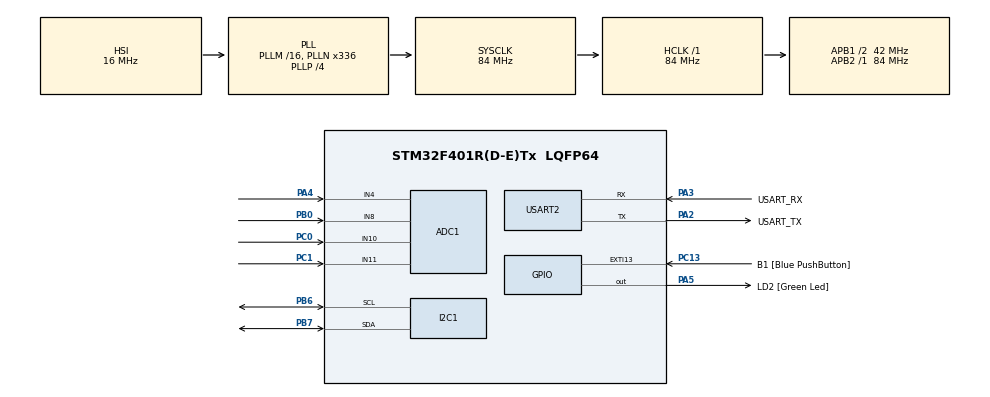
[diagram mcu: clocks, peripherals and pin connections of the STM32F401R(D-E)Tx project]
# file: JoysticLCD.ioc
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ADC1.Channel-2\#ChannelRegularConversion=ADC_CHANNEL_10
ADC1.Channel-3\#ChannelRegularConversion=ADC_CHANNEL_11
ADC1.Channel-4\#ChannelRegularConversion=ADC_CHANNEL_8
ADC1.Channel-5\#ChannelRegularConversion=ADC_CHANNEL_4
ADC1.ContinuousConvMode=ENABLE
ADC1.EOCSelection=ADC_EOC_SINGLE_CONV
ADC1.NbrOfConversion=4
ADC1.NbrOfConversionFlag=1
ADC1.Rank-2\#ChannelRegularConversion=1
ADC1.Rank-3\#ChannelRegularConversion=2
ADC1.Rank-4\#ChannelRegularConversion=3
ADC1.Rank-5\#ChannelRegularConversion=4
ADC1.SamplingTime-2\#ChannelRegularConversion=ADC_SAMPLETIME_480CYCLES
ADC1.SamplingTime-3\#ChannelRegularConversion=ADC_SAMPLETIME_480CYCLES
ADC1.SamplingTime-4\#ChannelRegularConversion=ADC_SAMPLETIME_480CYCLES
ADC1.SamplingTime-5\#ChannelRegularConversion=ADC_SAMPLETIME_480CYCLES
ADC1.ScanConvMode=ENABLE
ADC1.master=1
Mcu.Family=STM32F4
Mcu.Name=STM32F401R(D-E)Tx
Mcu.Package=LQFP64
NVIC.ADC_IRQn=true\:0\:0\:false\:false\:true\:true\:true\:true
NVIC.PriorityGroup=NVIC_PRIORITYGROUP_0
NVIC.TIM1_UP_TIM10_IRQn=true\:0\:0\:false\:false\:true\:true\:true\:true
PA13.GPIO_Label=TMS
PA13.Mode=Serial_Wire
PA13.Signal=SYS_JTMS-SWDIO
PA14.GPIO_Label=TCK
PA14.Mode=Serial_Wire
PA14.Signal=SYS_JTCK-SWCLK
PA2.GPIO_Label=USART_TX
PA2.GPIO_Mode=GPIO_MODE_AF_PP
PA2.GPIO_PuPd=GPIO_NOPULL
PA2.GPIO_Speed=GPIO_SPEED_FREQ_LOW
PA2.Mode=Asynchronous
PA2.Signal=USART2_TX
PA3.GPIO_Label=USART_RX
PA3.GPIO_Mode=GPIO_MODE_AF_PP
PA3.GPIO_PuPd=GPIO_NOPULL
PA3.GPIO_Speed=GPIO_SPEED_FREQ_LOW
PA3.Mode=Asynchronous
PA3.Signal=USART2_RX
PA4.Signal=ADCx_IN4
PA5.GPIO_Label=LD2 [Green Led]
PA5.GPIO_Mode=GPIO_MODE_OUTPUT_PP
PA5.GPIO_PuPd=GPIO_NOPULL
PA5.GPIO_Speed=GPIO_SPEED_FREQ_LOW
PA5.Signal=GPIO_Output
PB0.Signal=ADCx_IN8
PB3.GPIO_Label=SWO
PB3.Signal=SYS_JTDO-SWO
PB6.Mode=I2C
PB6.Signal=I2C1_SCL
PB7.Mode=I2C
PB7.Signal=I2C1_SDA
PC0.Signal=ADCx_IN10
PC1.Signal=ADCx_IN11
PC13-ANTI_TAMP.GPIO_Label=B1 [Blue PushButton]
PC13-ANTI_TAMP.GPIO_ModeDefaultEXTI=GPIO_MODE_IT_FALLING
PC13-ANTI_TAMP.GPIO_PuPd=GPIO_NOPULL
PC13-ANTI_TAMP.Signal=GPXTI13
PC14-OSC32_IN.Mode=LSE-External-Oscillator
PC14-OSC32_IN.Signal=RCC_OSC32_IN
PC15-OSC32_OUT.Mode=LSE-External-Oscillator
PC15-OSC32_OUT.Signal=RCC_OSC32_OUT
PH0\ -\ OSC_IN.Mode=HSE-External-Clock-Source
PH0\ -\ OSC_IN.Signal=RCC_OSC_IN
PH1\ -\ OSC_OUT.Mode=HSE-External-Clock-Source
PH1\ -\ OSC_OUT.Signal=RCC_OSC_OUT
ProjectManager.HeapSize=0x200
ProjectManager.StackSize=0x400
ProjectManager.TargetToolchain=STM32CubeIDE
RCC.48MHZClocksFreq_Value=48000000
RCC.AHBFreq_Value=84000000
RCC.APB1CLKDivider=RCC_HCLK_DIV2
RCC.APB1Freq_Value=42000000
RCC.APB1TimFreq_Value=84000000
RCC.APB2Freq_Value=84000000
RCC.APB2TimFreq_Value=84000000
RCC.CortexFreq_Value=84000000
RCC.HCLKFreq_Value=84000000
RCC.HSE_VALUE=8000000
RCC.HSI_VALUE=16000000
RCC.PLLN=336
RCC.PLLP=RCC_PLLP_DIV4
RCC.PLLQ=7
RCC.SYSCLKFreq_VALUE=84000000
RCC.SYSCLKSource=RCC_SYSCLKSOURCE_PLLCLK
RCC.VCOOutputFreq_Value=336000000
SH.ADCx_IN10.0=ADC1_IN10,IN10
SH.ADCx_IN11.0=ADC1_IN11,IN11
SH.ADCx_IN4.0=ADC1_IN4,IN4
SH.ADCx_IN8.0=ADC1_IN8,IN8
TIM1.AutoReloadPreload=TIM_AUTORELOAD_PRELOAD_ENABLE
TIM1.Period=2624
TIM1.Prescaler=15999
TIM5.Prescaler=84
USART2.VirtualMode=VM_ASYNC
VP_TIM1_VS_ClockSourceINT.Mode=Internal
VP_TIM5_VS_ClockSourceINT.Mode=Internal
board=NUCLEO-F401RE

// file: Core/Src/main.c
/* USER CODE BEGIN Header */
/**
  ******************************************************************************
  * @file           : main.c
  * @brief          : Main program body
  ******************************************************************************
  * @attention
  *
  * Copyright (c) 2022 STMicroelectronics.
  * All rights reserved.
  *
  * This software is licensed under terms that can be found in the LICENSE file
  * in the root directory of this software component.
  * If no LICENSE file comes with this software, it is provided AS-IS.
  *
  ******************************************************************************
  */
/* USER CODE END Header */
#include "main.h"

/* USER CODE BEGIN Includes */
#include "lcd.h"

#include <stdio.h>
/* USER CODE END Includes */

 ADC_HandleTypeDef hadc1;

I2C_HandleTypeDef hi2c1;

TIM_HandleTypeDef htim1;
TIM_HandleTypeDef htim5;

UART_HandleTypeDef huart2;

void SystemClock_Config(void);
static void MX_GPIO_Init(void);
static void MX_USART2_UART_Init(void);
static void MX_ADC1_Init(void);
static void MX_I2C1_Init(void);
static void MX_TIM1_Init(void);
static void MX_TIM5_Init(void);

/* USER CODE BEGIN 0 */

struct clock_data
{
	uint8_t hrs;
	uint8_t min;
	uint8_t sec;
	uint8_t half;
};

void cd_set(struct clock_data *pcd, uint8_t hrs, uint8_t min, uint8_t sec){
	pcd->hrs = hrs;
	pcd->min = min;
	pcd->sec = sec;
	pcd->half = 0;
}

void cd_tick(struct clock_data * pcd){
	pcd->half++;

	pcd->sec += pcd->half / 2;
	pcd->half %= 2;

	pcd->min += pcd->sec / 60;
	pcd->sec %= 60;

	pcd->hrs += pcd->min / 60;
	pcd->min %= 60;

	pcd->hrs %= 24;
}

int cd_string(struct clock_data * pcd, char * str){
	  char delimiter = pcd->half ? ':' : ' ';
	  return sprintf(str, "%02u%c%02u%c%02u", pcd->hrs, delimiter, pcd->min, delimiter, pcd->sec);
}

void uart_print_cd(UART_HandleTypeDef * huart, struct clock_data * pcd){
	char cl_str[10] = {'\0'};
	char str[81] = {'\0'};
	int str_len = 0;
	str_len = cd_string(pcd, cl_str);
	str_len = sprintf(str, "%s\n\r", cl_str);
	HAL_UART_Transmit(&huart2, (uint8_t*) str, str_len, HAL_MAX_DELAY);
}

void lcd_print_cd(TextLCDType *hlcd, struct clock_data * pcd){
	char str[10] = {'\0'};
	cd_string(pcd, str);
	TextLCD_Position(hlcd, 8, 1);
	TextLCD_PutStr(hlcd, str);
}

uint16_t read_one_adc_value(ADC_HandleTypeDef * hadc)
{
	HAL_ADC_Start(hadc);
	HAL_ADC_PollForConversion(hadc, 100);
	uint32_t reading = HAL_ADC_GetValue(hadc);
	HAL_ADC_Stop(hadc);
	return (uint16_t) reading;
}
float normalize_12bit(uint16_t x){ // right in image
	float ret = x;
	ret /= 4095;
	return ret;
}
float normalize_12bit_posneg(uint16_t x){ // left in image
	float ret = x;
	ret /=2047;
	ret -= 1;
	return ret;
}

float lm35_to_celsius(uint16_t lm35_reading){
	float ret = lm35_reading;
	float vref = 3.3;
	ret /= 4096.0/vref;//ret is now woltage
	ret *= 100;
	return ret;
}

float normelize_photo(uint16_t val){
	return normalize_12bit(4096 -  val);
}

enum {adc_buffer_size = 3};
enum adc_indexes{
	joy_x_ix = 0,
	joy_y_ix = 1,
	lm35_ix = 2,
	photo_ix = 3
};
uint16_t adc_buffer[adc_buffer_size];
uint32_t adc_index = 0;
uint32_t adc_done = 0;

void joystic(TextLCDType * hlcd){
	HAL_ADC_Start_IT(&hadc1);
	while(1){
		if(adc_done){
			adc_done = 0;
			TextLCD_Clear(hlcd);
			char str[40] = {'\0'};
			TextLCD_Position(hlcd, 0, 0);
			char celciusToken = 0b11011111;
			sprintf(str, "%+0.2fx   % 4.1f%cC", normalize_12bit_posneg(adc_buffer[joy_x_ix]), lm35_to_celsius(adc_buffer[lm35_ix]), celciusToken);
			TextLCD_PutStr(hlcd, str);

			sprintf(str, "%+0.2fy    %0.3f%c", normalize_12bit_posneg(adc_buffer[joy_y_ix]), normelize_photo(adc_buffer[photo_ix]), 'L');
			TextLCD_Position(hlcd, 0, 1);
			TextLCD_PutStr(hlcd, str);
		};
		HAL_Delay(500);
	}
}

void HAL_ADC_ConvCpltCallback(ADC_HandleTypeDef* hadc){
	if(hadc == &hadc1){
		//hadc->Instance->
		if(__HAL_ADC_GET_FLAG(hadc, ADC_FLAG_EOC)){
			adc_buffer[adc_index] = HAL_ADC_GetValue(hadc);
			if(adc_index == adc_buffer_size){
				adc_index = 0;
				adc_done = 1;
			}else{
				adc_index++;
			}
		}
	}
}

uint32_t unhandled_clock = 0;
void HAL_TIM_PeriodElapsedCallback(TIM_HandleTypeDef *htim){
	if(htim == &htim1){
		unhandled_clock++;
	}
}
/* USER CODE END 0 */

int main(void)
{

  /* MCU Configuration--------------------------------------------------------*/

  /* Reset of all peripherals, Initializes the Flash interface and the Systick. */
  HAL_Init();

  /* Configure the system clock */
  SystemClock_Config();

  /* Initialize all configured peripherals */
  MX_GPIO_Init();
  MX_USART2_UART_Init();
  MX_ADC1_Init();
  MX_I2C1_Init();
  MX_TIM1_Init();
  MX_TIM5_Init();
  /* USER CODE BEGIN 2 */

  struct clock_data my_clock;
  cd_set(&my_clock, 23, 59, 45);

  HAL_TIM_Base_Start_IT(&htim1);
  {
	  char str[81] = {'\0'};
	  int str_len = 0;
	  str_len = sprintf(str, "Starting\n\r");
	  HAL_UART_Transmit(&huart2, (uint8_t*) str, str_len, HAL_MAX_DELAY);
	  str_len = sprintf(str, "took %lu\n\r", high_resolution_clock);
	  HAL_UART_Transmit(&huart2, (uint8_t*) str, str_len, HAL_MAX_DELAY);
  }
  uart_print_cd(&huart2, &my_clock);

  TextLCDType hlcd;

  TextLCD_Init(&hlcd, &hi2c1, 0x4E);
  TextLCD_SetBacklightFlag(GPIO_PIN_SET);

  TextLCD_Clear(&hlcd);
  TextLCD_Home(&hlcd);
  char greeting[] = "Hello analog";
  TextLCD_PutStr(&hlcd, "Hello analog");
  HAL_UART_Transmit(&huart2, (uint8_t*) greeting, sizeof(greeting), HAL_MAX_DELAY);

  /* USER CODE END 2 */

  /* Infinite loop */
  /* USER CODE BEGIN WHILE */
  joystic(&hlcd);
  while (1)
  {

	  if(unhandled_clock){
		  unhandled_clock--;
		  cd_tick(&my_clock);
		  lcd_print_cd(&hlcd, &my_clock);
	  }
    /* USER CODE END WHILE */

  }
}

void SystemClock_Config(void)
{
  RCC_OscInitTypeDef RCC_OscInitStruct = {0};
  RCC_ClkInitTypeDef RCC_ClkInitStruct = {0};

  /** Configure the main internal regulator output voltage
  */
  __HAL_RCC_PWR_CLK_ENABLE();
  __HAL_PWR_VOLTAGESCALING_CONFIG(PWR_REGULATOR_VOLTAGE_SCALE2);

  /** Initializes the RCC Oscillators according to the specified parameters
  * in the RCC_OscInitTypeDef structure.
  */
  RCC_OscInitStruct.OscillatorType = RCC_OSCILLATORTYPE_HSI;
  RCC_OscInitStruct.HSIState = RCC_HSI_ON;
  RCC_OscInitStruct.HSICalibrationValue = RCC_HSICALIBRATION_DEFAULT;
  RCC_OscInitStruct.PLL.PLLState = RCC_PLL_ON;
  RCC_OscInitStruct.PLL.PLLSource = RCC_PLLSOURCE_HSI;
  RCC_OscInitStruct.PLL.PLLM = 16;
  RCC_OscInitStruct.PLL.PLLN = 336;
  RCC_OscInitStruct.PLL.PLLP = RCC_PLLP_DIV4;
  RCC_OscInitStruct.PLL.PLLQ = 7;
  if (HAL_RCC_OscConfig(&RCC_OscInitStruct) != HAL_OK)
  {
    Error_Handler();
  }

  /** Initializes the CPU, AHB and APB buses clocks
  */
  RCC_ClkInitStruct.ClockType = RCC_CLOCKTYPE_HCLK|RCC_CLOCKTYPE_SYSCLK
                              |RCC_CLOCKTYPE_PCLK1|RCC_CLOCKTYPE_PCLK2;
  RCC_ClkInitStruct.SYSCLKSource = RCC_SYSCLKSOURCE_PLLCLK;
  RCC_ClkInitStruct.AHBCLKDivider = RCC_SYSCLK_DIV1;
  RCC_ClkInitStruct.APB1CLKDivider = RCC_HCLK_DIV2;
  RCC_ClkInitStruct.APB2CLKDivider = RCC_HCLK_DIV1;

  if (HAL_RCC_ClockConfig(&RCC_ClkInitStruct, FLASH_LATENCY_2) != HAL_OK)
  {
    Error_Handler();
  }
}

static void MX_ADC1_Init(void)
{

  ADC_ChannelConfTypeDef sConfig = {0};

  /** Configure the global features of the ADC (Clock, Resolution, Data Alignment and number of conversion)
  */
  hadc1.Instance = ADC1;
  hadc1.Init.ClockPrescaler = ADC_CLOCK_SYNC_PCLK_DIV4;
  hadc1.Init.Resolution = ADC_RESOLUTION_12B;
  hadc1.Init.ScanConvMode = ENABLE;
  hadc1.Init.ContinuousConvMode = ENABLE;
  hadc1.Init.DiscontinuousConvMode = DISABLE;
  hadc1.Init.ExternalTrigConvEdge = ADC_EXTERNALTRIGCONVEDGE_NONE;
  hadc1.Init.ExternalTrigConv = ADC_SOFTWARE_START;
  hadc1.Init.DataAlign = ADC_DATAALIGN_RIGHT;
  hadc1.Init.NbrOfConversion = 4;
  hadc1.Init.DMAContinuousRequests = DISABLE;
  hadc1.Init.EOCSelection = ADC_EOC_SINGLE_CONV;
  if (HAL_ADC_Init(&hadc1) != HAL_OK)
  {
    Error_Handler();
  }

  /** Configure for the selected ADC regular channel its corresponding rank in the sequencer and its sample time.
  */
  sConfig.Channel = ADC_CHANNEL_10;
  sConfig.Rank = 1;
  sConfig.SamplingTime = ADC_SAMPLETIME_480CYCLES;
  if (HAL_ADC_ConfigChannel(&hadc1, &sConfig) != HAL_OK)
  {
    Error_Handler();
  }

  /** Configure for the selected ADC regular channel its corresponding rank in the sequencer and its sample time.
  */
  sConfig.Channel = ADC_CHANNEL_11;
  sConfig.Rank = 2;
  if (HAL_ADC_ConfigChannel(&hadc1, &sConfig) != HAL_OK)
  {
    Error_Handler();
  }

  /** Configure for the selected ADC regular channel its corresponding rank in the sequencer and its sample time.
  */
  sConfig.Channel = ADC_CHANNEL_8;
  sConfig.Rank = 3;
  if (HAL_ADC_ConfigChannel(&hadc1, &sConfig) != HAL_OK)
  {
    Error_Handler();
  }

  /** Configure for the selected ADC regular channel its corresponding rank in the sequencer and its sample time.
  */
  sConfig.Channel = ADC_CHANNEL_4;
  sConfig.Rank = 4;
  if (HAL_ADC_ConfigChannel(&hadc1, &sConfig) != HAL_OK)
  {
    Error_Handler();
  }

}

static void MX_I2C1_Init(void)
{

  hi2c1.Instance = I2C1;
  hi2c1.Init.ClockSpeed = 100000;
  hi2c1.Init.DutyCycle = I2C_DUTYCYCLE_2;
  hi2c1.Init.OwnAddress1 = 0;
  hi2c1.Init.AddressingMode = I2C_ADDRESSINGMODE_7BIT;
  hi2c1.Init.DualAddressMode = I2C_DUALADDRESS_DISABLE;
  hi2c1.Init.OwnAddress2 = 0;
  hi2c1.Init.GeneralCallMode = I2C_GENERALCALL_DISABLE;
  hi2c1.Init.NoStretchMode = I2C_NOSTRETCH_DISABLE;
  if (HAL_I2C_Init(&hi2c1) != HAL_OK)
  {
    Error_Handler();
  }

}

static void MX_TIM1_Init(void)
{

  TIM_ClockConfigTypeDef sClockSourceConfig = {0};
  TIM_MasterConfigTypeDef sMasterConfig = {0};

  htim1.Instance = TIM1;
  htim1.Init.Prescaler = 15999;
  htim1.Init.CounterMode = TIM_COUNTERMODE_UP;
  htim1.Init.Period = 2624;
  htim1.Init.ClockDivision = TIM_CLOCKDIVISION_DIV1;
  htim1.Init.RepetitionCounter = 0;
  htim1.Init.AutoReloadPreload = TIM_AUTORELOAD_PRELOAD_ENABLE;
  if (HAL_TIM_Base_Init(&htim1) != HAL_OK)
  {
    Error_Handler();
  }
  sClockSourceConfig.ClockSource = TIM_CLOCKSOURCE_INTERNAL;
  if (HAL_TIM_ConfigClockSource(&htim1, &sClockSourceConfig) != HAL_OK)
  {
    Error_Handler();
  }
  sMasterConfig.MasterOutputTrigger = TIM_TRGO_RESET;
  sMasterConfig.MasterSlaveMode = TIM_MASTERSLAVEMODE_DISABLE;
  if (HAL_TIMEx_MasterConfigSynchronization(&htim1, &sMasterConfig) != HAL_OK)
  {
    Error_Handler();
  }

}

static void MX_TIM5_Init(void)
{

  TIM_ClockConfigTypeDef sClockSourceConfig = {0};
  TIM_MasterConfigTypeDef sMasterConfig = {0};

  htim5.Instance = TIM5;
  htim5.Init.Prescaler = 84;
  htim5.Init.CounterMode = TIM_COUNTERMODE_UP;
  htim5.Init.Period = 4294967295;
  htim5.Init.ClockDivision = TIM_CLOCKDIVISION_DIV1;
  htim5.Init.AutoReloadPreload = TIM_AUTORELOAD_PRELOAD_DISABLE;
  if (HAL_TIM_Base_Init(&htim5) != HAL_OK)
  {
    Error_Handler();
  }
  sClockSourceConfig.ClockSource = TIM_CLOCKSOURCE_INTERNAL;
  if (HAL_TIM_ConfigClockSource(&htim5, &sClockSourceConfig) != HAL_OK)
  {
    Error_Handler();
  }
  sMasterConfig.MasterOutputTrigger = TIM_TRGO_RESET;
  sMasterConfig.MasterSlaveMode = TIM_MASTERSLAVEMODE_DISABLE;
  if (HAL_TIMEx_MasterConfigSynchronization(&htim5, &sMasterConfig) != HAL_OK)
  {
    Error_Handler();
  }

}

static void MX_USART2_UART_Init(void)
{

  huart2.Instance = USART2;
  huart2.Init.BaudRate = 115200;
  huart2.Init.WordLength = UART_WORDLENGTH_8B;
  huart2.Init.StopBits = UART_STOPBITS_1;
  huart2.Init.Parity = UART_PARITY_NONE;
  huart2.Init.Mode = UART_MODE_TX_RX;
  huart2.Init.HwFlowCtl = UART_HWCONTROL_NONE;
  huart2.Init.OverSampling = UART_OVERSAMPLING_16;
  if (HAL_UART_Init(&huart2) != HAL_OK)
  {
    Error_Handler();
  }

}

static void MX_GPIO_Init(void)
{
  GPIO_InitTypeDef GPIO_InitStruct = {0};

  /* GPIO Ports Clock Enable */
  __HAL_RCC_GPIOC_CLK_ENABLE();
  __HAL_RCC_GPIOH_CLK_ENABLE();
  __HAL_RCC_GPIOA_CLK_ENABLE();
  __HAL_RCC_GPIOB_CLK_ENABLE();

  /*Configure GPIO pin Output Level */
  HAL_GPIO_WritePin(LD2_GPIO_Port, LD2_Pin, GPIO_PIN_RESET);

  /*Configure GPIO pin : B1_Pin */
  GPIO_InitStruct.Pin = B1_Pin;
  GPIO_InitStruct.Mode = GPIO_MODE_IT_FALLING;
  GPIO_InitStruct.Pull = GPIO_NOPULL;
  HAL_GPIO_Init(B1_GPIO_Port, &GPIO_InitStruct);

  /*Configure GPIO pin : LD2_Pin */
  GPIO_InitStruct.Pin = LD2_Pin;
  GPIO_InitStruct.Mode = GPIO_MODE_OUTPUT_PP;
  GPIO_InitStruct.Pull = GPIO_NOPULL;
  GPIO_InitStruct.Speed = GPIO_SPEED_FREQ_LOW;
  HAL_GPIO_Init(LD2_GPIO_Port, &GPIO_InitStruct);

}

void Error_Handler(void)
{
  __disable_irq();
  while (1)
  {
  }
}
